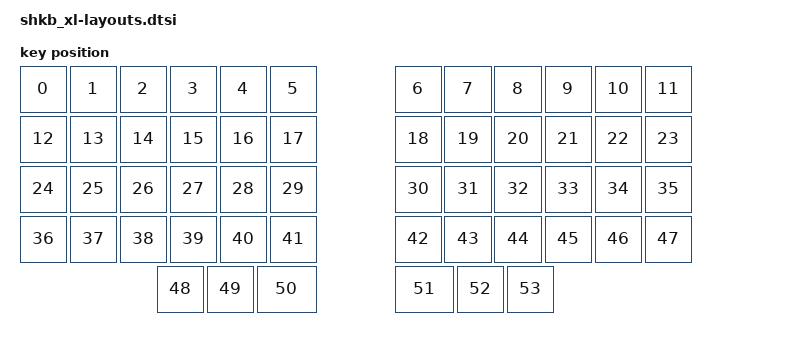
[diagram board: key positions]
#include <physical_layouts.dtsi>

/ {
    physical_layout_shkb_xl: physical_layout_shkb_xl {
        compatible = "zmk,physical-layout";
        display-name = "shkb-xl";
        keys  //                     w   h    x    y     rot    rx    ry
            = <&key_physical_attrs 100 100    0    0       0     0     0>
            , <&key_physical_attrs 100 100  100    0       0   100     0>
            , <&key_physical_attrs 100 100  200    0       0   200     0>
            , <&key_physical_attrs 100 100  300    0       0   300     0>
            , <&key_physical_attrs 100 100  400    0       0   400     0>
            , <&key_physical_attrs 100 100  500    0       0   500     0>
            , <&key_physical_attrs 100 100  750    0       0   750     0>
            , <&key_physical_attrs 100 100  850    0       0   850     0>
            , <&key_physical_attrs 100 100  950    0       0   950     0>
            , <&key_physical_attrs 100 100 1050    0       0  1050     0>
            , <&key_physical_attrs 100 100 1150    0       0  1150     0>
            , <&key_physical_attrs 100 100 1250    0       0  1250     0>
            , <&key_physical_attrs 100 100    0  100       0     0   100>
            , <&key_physical_attrs 100 100  100  100       0   100   100>
            , <&key_physical_attrs 100 100  200  100       0   200   100>
            , <&key_physical_attrs 100 100  300  100       0   300   100>
            , <&key_physical_attrs 100 100  400  100       0   400   100>
            , <&key_physical_attrs 100 100  500  100       0   500   100>
            , <&key_physical_attrs 100 100  750  100       0   750   100>
            , <&key_physical_attrs 100 100  850  100       0   850   100>
            , <&key_physical_attrs 100 100  950  100       0   950   100>
            , <&key_physical_attrs 100 100 1050  100       0  1050   100>
            , <&key_physical_attrs 100 100 1150  100       0  1150   100>
            , <&key_physical_attrs 100 100 1250  100       0  1250   100>
            , <&key_physical_attrs 100 100    0  200       0     0   200>
            , <&key_physical_attrs 100 100  100  200       0   100   200>
            , <&key_physical_attrs 100 100  200  200       0   200   200>
            , <&key_physical_attrs 100 100  300  200       0   300   200>
            , <&key_physical_attrs 100 100  400  200       0   400   200>
            , <&key_physical_attrs 100 100  500  200       0   500   200>
            , <&key_physical_attrs 100 100  750  200       0   750   200>
            , <&key_physical_attrs 100 100  850  200       0   850   200>
            , <&key_physical_attrs 100 100  950  200       0   950   200>
            , <&key_physical_attrs 100 100 1050  200       0  1050   200>
            , <&key_physical_attrs 100 100 1150  200       0  1150   200>
            , <&key_physical_attrs 100 100 1250  200       0  1250   200>
            , <&key_physical_attrs 100 100    0  300       0     0   300>
            , <&key_physical_attrs 100 100  100  300       0   100   300>
            , <&key_physical_attrs 100 100  200  300       0   200   300>
            , <&key_physical_attrs 100 100  300  300       0   300   300>
            , <&key_physical_attrs 100 100  400  300       0   400   300>
            , <&key_physical_attrs 100 100  500  300       0   500   300>
            , <&key_physical_attrs 100 100  750  300       0   750   300>
            , <&key_physical_attrs 100 100  850  300       0   850   300>
            , <&key_physical_attrs 100 100  950  300       0   950   300>
            , <&key_physical_attrs 100 100 1050  300       0  1050   300>
            , <&key_physical_attrs 100 100 1150  300       0  1150   300>
            , <&key_physical_attrs 100 100 1250  300       0  1250   300>
            , <&key_physical_attrs 100 100  275  400       0   275   400>
            , <&key_physical_attrs 100 100  375  400       0   375   400>
            , <&key_physical_attrs 125 100  475  400       0   475   400>
            , <&key_physical_attrs 125 100  750  400       0   750   400>
            , <&key_physical_attrs 100 100  875  400       0   875   400>
            , <&key_physical_attrs 100 100  975  400       0   975   400>
            ;
    };
};
